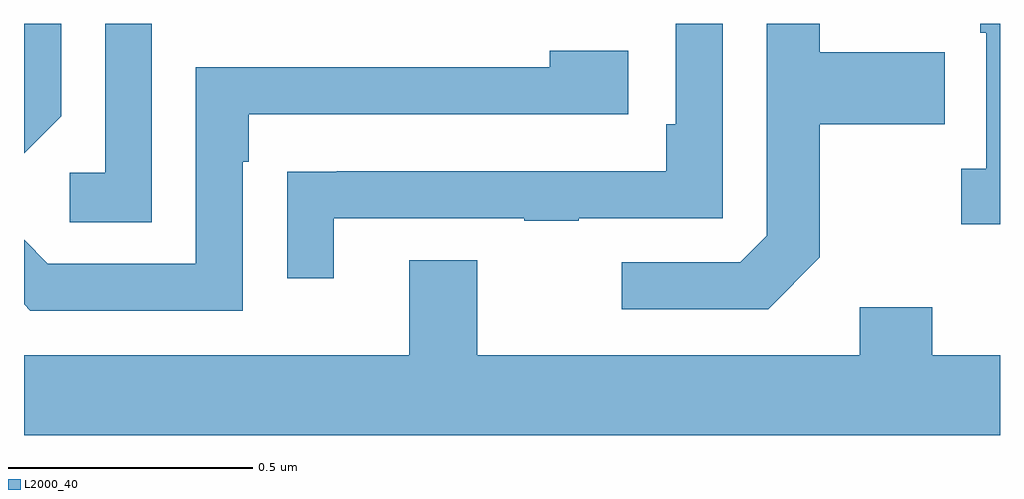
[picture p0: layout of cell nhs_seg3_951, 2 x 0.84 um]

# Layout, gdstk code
import gdstk
lib = gdstk.Library(unit=1e-6, precision=1e-09)
def P(c, l, *ps):  # polygons
    for p in ps: c.add(gdstk.Polygon(p, *l))
L2000_40 = (2000, 40)

nhs_seg3_951 = lib.new_cell('nhs_seg3_951')
P(nhs_seg3_951, L2000_40, [(123.631,727.921),(123.631,728.194),(123.887,728.194),(123.887,728.341),(123.631,728.341),(123.631,728.4),(123.522,728.4),(123.522,727.965),(123.468,727.911),(123.225,727.911),(123.225,727.815),(123.525,727.815)],
  [(122.076,728.21),(122.076,728.4),(122,728.4),(122,728.134)],
  [(122.262,728.4),(122.166,728.4),(122.166,728.094),(122.094,728.094),(122.094,727.993),(122.262,727.993)],
  [(124,728.4),(123.96,728.4),(123.96,728.381),(123.972,728.381),(123.972,728.102),(123.921,728.102),(123.921,727.989),(124,727.989)],
  [(122.635,728.001),(123.025,728.001),(123.025,727.996),(123.137,727.996),(123.137,728.001),(123.432,728.001),(123.432,728.4),(123.336,728.4),(123.336,728.194),(123.316,728.194),(123.316,728.097),(122.641,728.097),(122.641,728.096),(122.539,728.096),(122.539,727.878),(122.635,727.878)],
  [(122.448,728.117),(122.461,728.117),(122.461,728.214),(123.238,728.214),(123.238,728.344),(123.077,728.344),(123.077,728.31),(122.352,728.31),(122.352,727.908),(122.049,727.908),(122,727.957),(122,727.825),(122.013,727.812),(122.448,727.812)],
  [(124,727.72),(123.861,727.72),(123.861,727.819),(123.713,727.819),(123.713,727.72),(122.929,727.72),(122.929,727.915),(122.789,727.915),(122.789,727.72),(122,727.72),(122,727.556),(124,727.556)])

lib.write_gds('nhs_seg3_951.gds')
